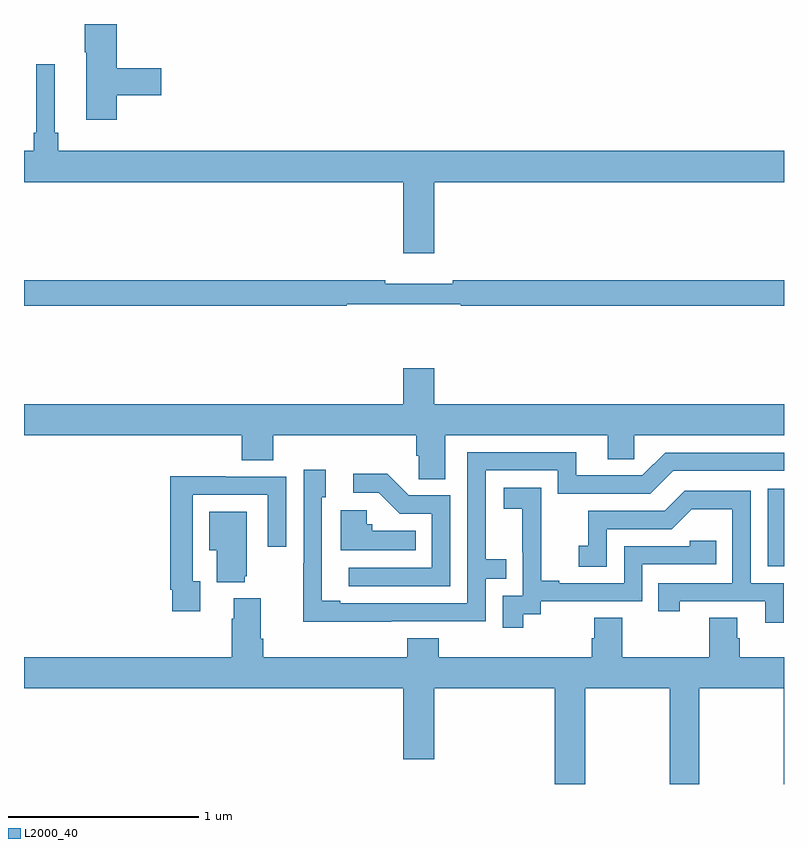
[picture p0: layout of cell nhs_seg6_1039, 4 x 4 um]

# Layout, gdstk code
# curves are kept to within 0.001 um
import gdstk
lib = gdstk.Library(unit=1e-6, precision=1e-09)
def R(c, l, rs):  # rectangles x0, y0, x1, y1
    for r in rs: c.add(gdstk.rectangle(r[:2], r[2:], *l))
def P(c, l, *ps):  # polygons
    for p in ps: c.add(gdstk.Polygon(p, *l))
L2000_40 = (2000, 40)

nhs_seg6_1039 = lib.new_cell('nhs_seg6_1039')
R(nhs_seg6_1039, L2000_40, [(178.914,946.647,179,947.053)])
P(nhs_seg6_1039, L2000_40, [(175.487,949.126),(175.723,949.126),(175.723,949.268),(175.487,949.268),(175.487,949.5),(175.321,949.5),(175.321,949.351),(175.328,949.351),(175.328,948.996),(175.487,948.996)],
  [(177.16,948.668),(179,948.668),(179,948.832),(175.181,948.832),(175.181,948.928),(175.162,948.928),(175.162,949.288),(175.065,949.288),(175.065,948.928),(175.052,948.928),(175.052,948.832),(175,948.832),(175,948.668),(176.996,948.668),(176.996,948.294),(177.16,948.294)],
  [(176.698,948.024),(177.298,948.024),(177.298,948.016),(179,948.016),(179,948.152),(177.256,948.152),(177.256,948.133),(176.9,948.133),(176.9,948.152),(175,948.152),(175,948.016),(176.698,948.016)],
  [(177.217,947.336),(178.073,947.336),(178.073,947.209),(178.212,947.209),(178.212,947.336),(179,947.336),(179,947.5),(177.16,947.5),(177.16,947.689),(176.996,947.689),(176.996,947.5),(175,947.5),(175,947.336),(176.147,947.336),(176.147,947.203),(176.312,947.203),(176.312,947.336),(177.065,947.336),(177.065,947.227),(177.078,947.227),(177.078,947.104),(177.217,947.104)],
  [(176.933,946.356),(177.429,946.356),(177.429,946.581),(177.539,946.581),(177.539,946.682),(177.429,946.682),(177.429,947.151),(177.81,947.151),(177.81,947.028),(178.296,947.028),(178.416,947.148),(179,947.148),(179,947.244),(178.374,947.244),(178.254,947.124),(177.907,947.124),(177.907,947.247),(177.333,947.247),(177.333,946.452),(176.665,946.452),(176.665,946.465),(176.568,946.465),(176.568,947.01),(176.587,947.01),(176.587,947.155),(176.472,947.155),(176.472,946.661),(176.47,946.661),(176.47,946.355)],
  [(177.243,947.019),(177.024,947.019),(176.911,947.132),(176.733,947.132),(176.733,947.034),(176.867,947.034),(176.978,946.923),(177.147,946.923),(177.147,946.638),(176.709,946.638),(176.709,946.542),(177.243,946.542)],
  [(175.927,946.566),(175.887,946.566),(175.887,947.022),(176.283,947.022),(176.283,946.749),(176.379,946.749),(176.379,947.118),(176.063,947.118),(176.063,947.12),(175.771,947.12),(175.771,946.522),(175.779,946.522),(175.779,946.41),(175.927,946.41)],
  [(177.628,946.393),(177.72,946.393),(177.72,946.461),(178.254,946.461),(178.254,946.656),(178.643,946.656),(178.643,946.779),(178.503,946.779),(178.503,946.752),(178.158,946.752),(178.158,946.557),(177.817,946.557),(177.817,946.57),(177.722,946.57),(177.722,946.853),(177.723,946.853),(177.723,947.059),(177.525,947.059),(177.525,946.949),(177.623,946.949),(177.623,946.721),(177.624,946.721),(177.624,946.491),(177.519,946.491),(177.519,946.323),(177.628,946.323)],
  [(178.998,946.557),(178.824,946.557),(178.824,947.043),(178.478,947.043),(178.373,946.938),(177.97,946.938),(177.97,946.753),(177.921,946.753),(177.921,946.644),(178.068,946.644),(178.068,946.842),(178.41,946.842),(178.514,946.946),(178.728,946.946),(178.728,946.557),(178.339,946.557),(178.339,946.41),(178.45,946.41),(178.45,946.461),(178.901,946.461),(178.901,946.35),(178.998,946.35)],
  [(177.062,946.834),(176.832,946.834),(176.832,946.866),(176.805,946.866),(176.805,946.942),(176.666,946.942),(176.666,946.73),(177.062,946.73)],
  [(176.162,946.593),(176.173,946.593),(176.173,946.933),(175.976,946.933),(175.976,946.73),(176.015,946.73),(176.015,946.562),(176.162,946.562)],
  [(177.954,946.004),(178.399,946.004),(178.399,945.5),(178.554,945.5),(178.554,946.004),(178.999,946.004),(178.999,945.5),(179,945.5),(179,946.168),(178.766,946.168),(178.766,946.266),(178.753,946.266),(178.753,946.376),(178.606,946.376),(178.606,946.168),(178.149,946.168),(178.149,946.376),(178.001,946.376),(178.001,946.266),(177.989,946.266),(177.989,946.168),(177.182,946.168),(177.182,946.267),(177.017,946.267),(177.017,946.168),(176.258,946.168),(176.258,946.264),(176.245,946.264),(176.245,946.477),(176.105,946.477),(176.105,946.37),(176.093,946.37),(176.093,946.168),(175,946.168),(175,946.004),(176.996,946.004),(176.996,945.63),(177.16,945.63),(177.16,946.004),(177.794,946.004),(177.794,945.5),(177.954,945.5)])

lib.write_gds('nhs_seg6_1039.gds')
